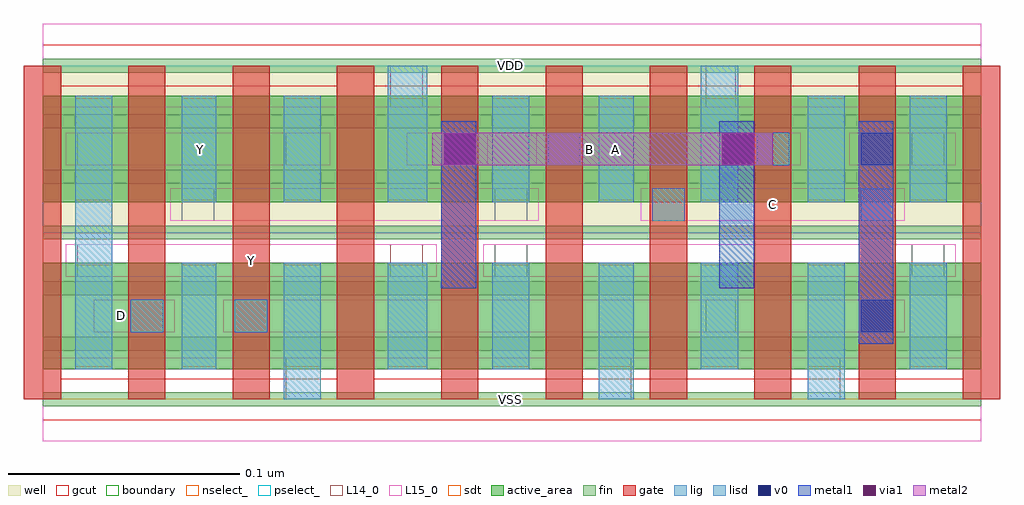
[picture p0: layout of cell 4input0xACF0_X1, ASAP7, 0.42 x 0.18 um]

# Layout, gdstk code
import gdstk
lib = gdstk.Library(unit=1e-6, precision=1e-09)
def R(c, l, rs):  # rectangles x0, y0, x1, y1
    for r in rs: c.add(gdstk.rectangle(r[:2], r[2:], *l))
def A(c, l, x, y, w, h, nx, ny, dx, dy):  # array of equal rectangles
    R(c, l, [(x+i*dx, y+j*dy, x+i*dx+w, y+j*dy+h) for i in range(nx) for j in range(ny)])
def P(c, l, *ps):  # polygons
    for p in ps: c.add(gdstk.Polygon(p, *l))
well = (1, 0)
fin = (2, 0)
gate = (7, 0)
gcut = (10, 0)
active_area = (11, 0)
nselect_ = (12, 0)
pselect_ = (13, 0)
L14_0 = (14, 0)
L15_0 = (15, 0)
lig = (16, 0)
lisd = (17, 0)
v0 = (18, 0)
metal1 = (19, 0)
metal2 = (20, 0)
via1 = (21, 0)
sdt = (88, 0)
boundary = (100, 0)

c_4input0xacf0_x1 = lib.new_cell('4input0xACF0_X1')
R(c_4input0xacf0_x1, well, [(0,0.072,0.405,0.144)])
A(c_4input0xacf0_x1, fin, 0, -0.003, 0.405, 0.006, 1, 7, 0, 0.024)
A(c_4input0xacf0_x1, gate, -0.008, 0, 0.016, 0.144, 10, 1, 0.045, 0)
P(c_4input0xacf0_x1, gcut, [(0,-0.009),(0,0),(-0.008,0),(-0.008,0.135),(0.008,0.135),(0.008,0.009),(0.127,0.009),(0.127,0.135),(0.143,0.135),(0.143,0.009),(0.397,0.009),(0.397,0.135),(-0.008,0.135),(-0.008,0.144),(0,0.144),(0,0.153),(0.405,0.153),(0.405,0.144),(0.413,0.144),(0.413,0),(0.405,0),(0.405,-0.009)])
R(c_4input0xacf0_x1, active_area, [(0,0.013,0.405,0.059), (0,0.085,0.405,0.131)])
R(c_4input0xacf0_x1, nselect_, [(0,0,0.405,0.072)])
R(c_4input0xacf0_x1, pselect_, [(0,0.072,0.405,0.144)])
R(c_4input0xacf0_x1, L14_0, [(0.105,0,0.12,0.018), (0.24,0,0.254,0.018), (0.33,0,0.344,0.018), (0.038,0.029,0.052,0.043), (0.083,0.029,0.097,0.043), (0.286,0.029,0.299,0.043), (0.015,0.053,0.03,0.067), (0.15,0.053,0.164,0.067), (0.195,0.053,0.209,0.067), (0.375,0.053,0.389,0.067), (0.06,0.077,0.074,0.091), (0.195,0.077,0.209,0.091), (0.263,0.077,0.277,0.091), (0.353,0.077,0.367,0.091), (0.015,0.101,0.03,0.115), (0.105,0.101,0.12,0.115), (0.173,0.101,0.187,0.115), (0.218,0.101,0.232,0.115), (0.308,0.101,0.322,0.115), (0.375,0.101,0.389,0.115), (0.15,0.126,0.164,0.144), (0.286,0.126,0.299,0.144)])
R(c_4input0xacf0_x1, L15_0, [(0,-0.018,0.405,0.018), (0.022,0.029,0.057,0.043), (0.078,0.029,0.372,0.043), (0.01,0.053,0.17,0.067), (0.19,0.053,0.394,0.067), (0.055,0.077,0.214,0.091), (0.258,0.077,0.372,0.091), (0.01,0.101,0.124,0.115), (0.157,0.101,0.192,0.115), (0.213,0.101,0.247,0.115), (0.288,0.101,0.327,0.115), (0.348,0.101,0.394,0.115), (0,0.126,0.405,0.162)])
R(c_4input0xacf0_x1, lig, [(0.038,0.029,0.052,0.043), (0.083,0.029,0.097,0.043), (0.263,0.077,0.277,0.091), (0.353,0.077,0.367,0.091), (0.173,0.101,0.187,0.115), (0.218,0.101,0.232,0.115), (0.308,0.101,0.322,0.115)])
A(c_4input0xacf0_x1, lisd, 0.194, 0.013, 0.016, 0.046, 3, 1, 0.09, 0)
R(c_4input0xacf0_x1, lisd, [(0.104,0,0.12,0.059), (0.24,0,0.255,0.059), (0.33,0,0.346,0.059), (0.014,0.013,0.03,0.131), (0.06,0.013,0.075,0.059), (0.149,0.013,0.166,0.059), (0.06,0.085,0.075,0.131), (0.104,0.085,0.12,0.131), (0.149,0.085,0.166,0.144), (0.194,0.085,0.21,0.131), (0.24,0.085,0.255,0.131), (0.284,0.085,0.3,0.144), (0.33,0.085,0.346,0.131), (0.374,0.085,0.39,0.131)])
R(c_4input0xacf0_x1, v0, [(0.353,0.029,0.367,0.043), (0.173,0.101,0.187,0.115), (0.293,0.101,0.307,0.115), (0.353,0.101,0.367,0.115)])
R(c_4input0xacf0_x1, metal1, [(0.352,0.024,0.367,0.12), (0.172,0.048,0.187,0.12), (0.292,0.048,0.307,0.12)])
R(c_4input0xacf0_x1, metal2, [(0.168,0.101,0.315,0.115)])
R(c_4input0xacf0_x1, via1, [(0.173,0.101,0.187,0.115), (0.293,0.101,0.307,0.115)])
A(c_4input0xacf0_x1, sdt, 0.014, 0.014, 0.016, 0.044, 4, 2, 0.09, 0.072)
R(c_4input0xacf0_x1, sdt, [(0.06,0.014,0.075,0.058), (0.149,0.014,0.166,0.058), (0.24,0.014,0.255,0.058), (0.33,0.014,0.346,0.058), (0.374,0.014,0.39,0.058), (0.06,0.086,0.075,0.13), (0.149,0.086,0.166,0.13), (0.24,0.086,0.255,0.13), (0.33,0.086,0.346,0.13), (0.374,0.086,0.39,0.13)])
R(c_4input0xacf0_x1, boundary, [(0,0,0.405,0.144)])
c_4input0xacf0_x1.add(gdstk.Label('Y', (0.068,0.108), layer=15, texttype=251))
c_4input0xacf0_x1.add(gdstk.Label('Y', (0.09,0.06), layer=15, texttype=251))
c_4input0xacf0_x1.add(gdstk.Label('VSS', (0.202,0), layer=15, texttype=251))
c_4input0xacf0_x1.add(gdstk.Label('VDD', (0.202,0.144), layer=15, texttype=251))
c_4input0xacf0_x1.add(gdstk.Label('C', (0.315,0.084), layer=15, texttype=251))
c_4input0xacf0_x1.add(gdstk.Label('VSS', (0.202,0), layer=15, texttype=251))
c_4input0xacf0_x1.add(gdstk.Label('VDD', (0.202,0.144), layer=15, texttype=251))
c_4input0xacf0_x1.add(gdstk.Label('VSS', (0.202,0), layer=15, texttype=251))
c_4input0xacf0_x1.add(gdstk.Label('VDD', (0.202,0.144), layer=15, texttype=251))
c_4input0xacf0_x1.add(gdstk.Label('B', (0.236,0.108), layer=15, texttype=251))
c_4input0xacf0_x1.add(gdstk.Label('VSS', (0.202,0), layer=15, texttype=251))
c_4input0xacf0_x1.add(gdstk.Label('VDD', (0.202,0.144), layer=15, texttype=251))
c_4input0xacf0_x1.add(gdstk.Label('D', (0.034,0.036), layer=15, texttype=251))
c_4input0xacf0_x1.add(gdstk.Label('VSS', (0.202,0), layer=15, texttype=251))
c_4input0xacf0_x1.add(gdstk.Label('VDD', (0.202,0.144), layer=15, texttype=251))
c_4input0xacf0_x1.add(gdstk.Label('VSS', (0.202,0), layer=3, texttype=251))
c_4input0xacf0_x1.add(gdstk.Label('VSS', (0.202,0), layer=3, texttype=251))
c_4input0xacf0_x1.add(gdstk.Label('VSS', (0.202,0), layer=3, texttype=251))
c_4input0xacf0_x1.add(gdstk.Label('VSS', (0.202,0), layer=3, texttype=251))
c_4input0xacf0_x1.add(gdstk.Label('VSS', (0.202,0), layer=3, texttype=251))
c_4input0xacf0_x1.add(gdstk.Label('VDD', (0.202,0.144), layer=1, texttype=251))
c_4input0xacf0_x1.add(gdstk.Label('VDD', (0.202,0.144), layer=1, texttype=251))
c_4input0xacf0_x1.add(gdstk.Label('VDD', (0.202,0.144), layer=1, texttype=251))
c_4input0xacf0_x1.add(gdstk.Label('VDD', (0.202,0.144), layer=1, texttype=251))
c_4input0xacf0_x1.add(gdstk.Label('VDD', (0.202,0.144), layer=1, texttype=251))
c_4input0xacf0_x1.add(gdstk.Label('A', (0.247,0.108), layer=20, texttype=251))

lib.write_gds('4input0xACF0_X1.gds')
